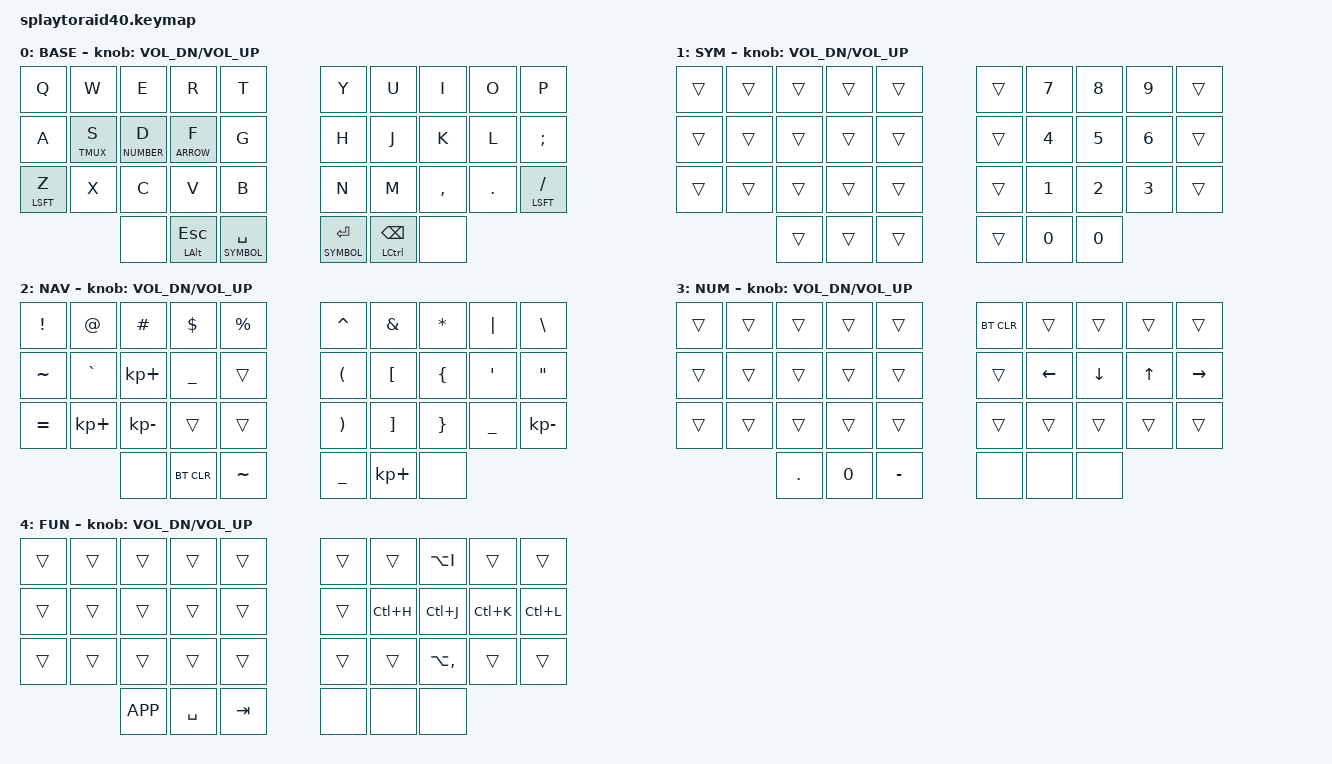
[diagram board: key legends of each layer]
/*
 * Copyright (c) 2021 The ZMK Contributors
 *
 * SPDX-License-Identifier: MIT
 */

#include <behaviors.dtsi>
#include <dt-bindings/zmk/bt.h>
#include <dt-bindings/zmk/ext_power.h>
#include <dt-bindings/zmk/keys.h>
#include <dt-bindings/zmk/outputs.h>


#define BASE 0
#define NUMBER 1
#define SYMBOL 2
#define ARROW 3
#define TMUX 4

/ {

    chosen {
        zmk,matrix_transform = &five_column_transform;
    };

    combos {
        compatible = "zmk,combos";
        combo_del {
            timeout-ms = <50>;
            key-positions = <15 16>;
            bindings = <&kp BSPC>;
        };
        combo_tab {
            timeout-ms = <50>;
            key-positions = <16 17>;
            bindings = <&kp TAB>;
        };
        
         combo_alt {
            timeout-ms = <50>;
            key-positions = <25 26>;
            bindings = <&kp LGUI>;
        };
    };


    keymap {
        compatible = "zmk,keymap";
        
        base_layer {
            label= "BASE";
            bindings = <

		&kp Q &kp W &kp E &kp R &kp T 						        &kp Y &kp U  &kp I    &kp O   &kp P 
                &kp A &lt TMUX S &lt NUMBER D &lt ARROW F &kp G 	        	        &kp H &kp J &kp K &kp L &kp SEMICOLON
		&mt LSFT Z &kp X &kp C &kp V &kp B				                &kp N &kp M  &kp CMMA &kp DOT &mt LSFT SLASH

          &none			&mt LALT ESC &lt SYMBOL SPACE   			 &lt SYMBOL ENTER  &mt LCTRL BSPC &none
            >;
            sensor-bindings = <&inc_dec_kp C_VOL_DN C_VOL_UP>;
        };

        number_layer {
            label= "SYM";
            bindings = <

              &trans    &trans    &trans    &trans    &trans                         &trans    &kp N7 &kp N8 &kp N9    &trans     
              &trans    &trans    &trans    &trans    &trans                         &trans    &kp N4 &kp N5 &kp N6    &trans 
              &trans    &trans    &trans    &trans    &trans                         &trans    &kp N1 &kp N2 &kp N3    &trans
                                        &trans    &trans    &trans                         &trans &kp N0   &kp N0 
             >;
             sensor-bindings = <&inc_dec_kp C_VOL_DN C_VOL_UP>;
        };

        symbol_layer {
            label= "NAV";
            bindings = <
              &kp EXCL &kp AT    &kp HASH &kp DOLLAR &kp PERCENT                &kp CARET &kp AMPERSAND &kp ASTERISK  &kp PIPE &kp BACKSLASH
              &kp TILDE    &kp GRAVE    &kp KP_PLUS    &kp UNDER    &trans              &kp LPAR    &kp LBKT    &kp LBRC    &kp SQT    &kp DQT  
              &kp EQUAL    &kp KP_PLUS    &kp KP_MINUS    &trans    &trans            &kp RPAR    &kp RBKT    &kp RBRC    &kp UNDER    &kp KP_MINUS  
                                        &none  &bt BT_CLR   &kp TILDE            &kp UNDER    &kp KP_PLUS  &none
            >;
            sensor-bindings = <&inc_dec_kp C_VOL_DN C_VOL_UP>;
        };

        arrow_layer {
            label= "NUM";
            bindings = <

              &trans    &trans    &trans    &trans    &trans                         &bt BT_CLR    &trans    &trans    &trans    &trans     
              &trans    &trans    &trans    &trans    &trans                         &trans    &kp LEFT  &kp DOWN    &kp UP  &kp RIGHT  
              &trans    &trans    &trans    &trans    &trans                        &trans    &trans    &trans    &trans    &trans
                                            &kp DOT       &kp N0        &kp MINUS     &none         &none         &none
            >;
            sensor-bindings = <&inc_dec_kp C_VOL_DN C_VOL_UP>;
        };

        tmux_layer {
            label= "FUN";
            bindings = <
              &trans    &trans    &trans    &trans    &trans                         &trans    &trans    &kp LA(I)    &trans    &trans     
              &trans    &trans    &trans    &trans    &trans                         &trans    &kp LC(H) &kp LC(J)    &kp LC(K)    &kp LC(L)
              &trans    &trans    &trans    &trans    &trans                         &trans    &trans    &kp LA(COMMA)    &trans    &trans 
                                            &kp K_APP     &kp SPACE     &kp TAB       &none         &none         &none
            >;
            sensor-bindings = <&inc_dec_kp C_VOL_DN C_VOL_UP>;
        };

    };

    center_encoder: encoder_center {
		resolution = <2>;
	};

};
